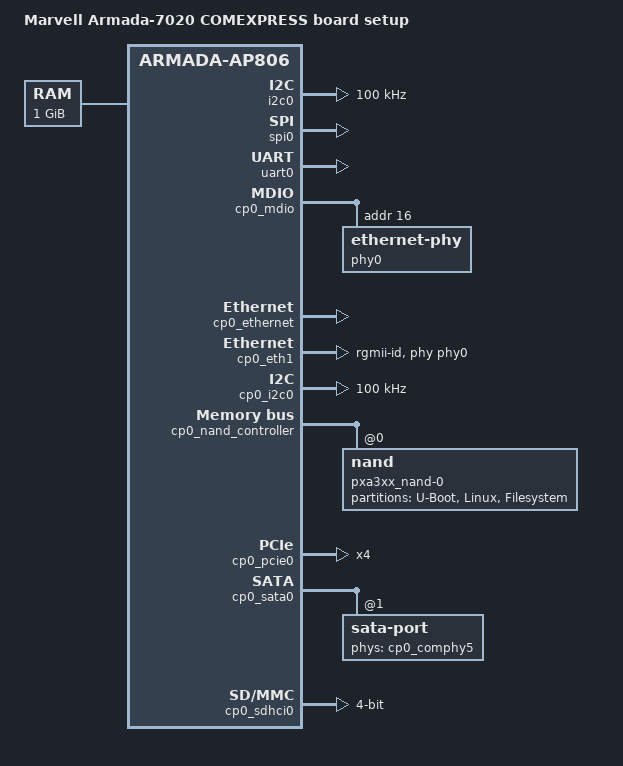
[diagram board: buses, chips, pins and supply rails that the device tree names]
// SPDX-License-Identifier: (GPL-2.0+ OR MIT)
/*
 * Copyright (C) 2019 Marvell Technology Group Ltd.
 *
 * Device Tree file for Marvell Armada 7020 COMEXPRESS board.
 */

#include "armada-7020.dtsi"

/ {
	model = "Marvell Armada-7020 COMEXPRESS board setup";
	compatible = "marvell,armada7020-comexpress", "marvell,armada7020",
			"marvell,armada-ap806";

	memory@0 {
		device_type = "memory";
		reg = <0x0 0x0 0x0 0x40000000>;
	};

	chosen {
		stdout-path = "serial0:115200n8";
	};

	aliases {
		ethernet0 = &cp0_eth0;
		ethernet1 = &cp0_eth1;
	};
};

&i2c0 {
	status = "okay";
	clock-frequency = <100000>;
};

&spi0 {
	status = "okay";
};

&uart0 {
	status = "okay";
};

&cp0_mdio {
	status = "okay";

	phy0: ethernet-phy@10 {
		reg = <0x10>;
	};
};

&cp0_ethernet {
	status = "okay";
};

&cp0_eth0 {
	status = "disabled";
	phy-mode = "10gbase-kr";
	managed = "in-band-status";
	/* Generic PHY, providing serdes lanes */
	phys = <&cp0_comphy4 0>;
};

&cp0_eth1 {
	status = "okay";
	phy = <&phy0>;
	phy-mode = "rgmii-id";
};

&cp0_i2c0 {
	status = "okay";
	clock-frequency = <100000>;
};

&cp0_nand_controller {
	status = "okay";

	nand@0 {
		reg = <0>;
		label = "pxa3xx_nand-0";
		nand-rb = <0>;
		nand-ecc-mode = "hw";
		nand-on-flash-bbt;
		nand-ecc-strength = <8>;
		nand-ecc-step-size = <512>;

		partitions {
			compatible = "fixed-partitions";
			#address-cells = <1>;
			#size-cells = <1>;

			partition@0 {
				label = "U-Boot";
				reg = <0 0x400000>;
			};
			partition@200000 {
				label = "Linux";
				reg = <0x400000 0x100000>;
			};
			partition@1000000 {
				label = "Filesystem";
				reg = <0x500000 0x1e00000>;
			};
		};
	};
};

&cp0_pcie0 {
	status = "okay";
	num-lanes = <4>;
	num-viewport = <8>;

	ranges = <0x81000000 0x0 0xfa000000 0x0 0xfa000000 0x0 0x00010000
		  0x82000000 0x0 0x00000000 0x8 0x00000000 0x2 0x00000000>;
};

&cp0_sata0 {
	/* CPM Lane 0 - U29 */
	status = "okay";

	sata-port@1 {
		status = "okay";
		/* Generic PHY, providing serdes lanes */
		phys = <&cp0_comphy5 1>;
	};
};

&cp0_sdhci0 {
	pinctrl-names = "default";
	pinctrl-0 = <&sdhci_pins>;
	status = "okay";
	bus-width = <4>;
	no-1-8-v;
	broken-cd;
};

